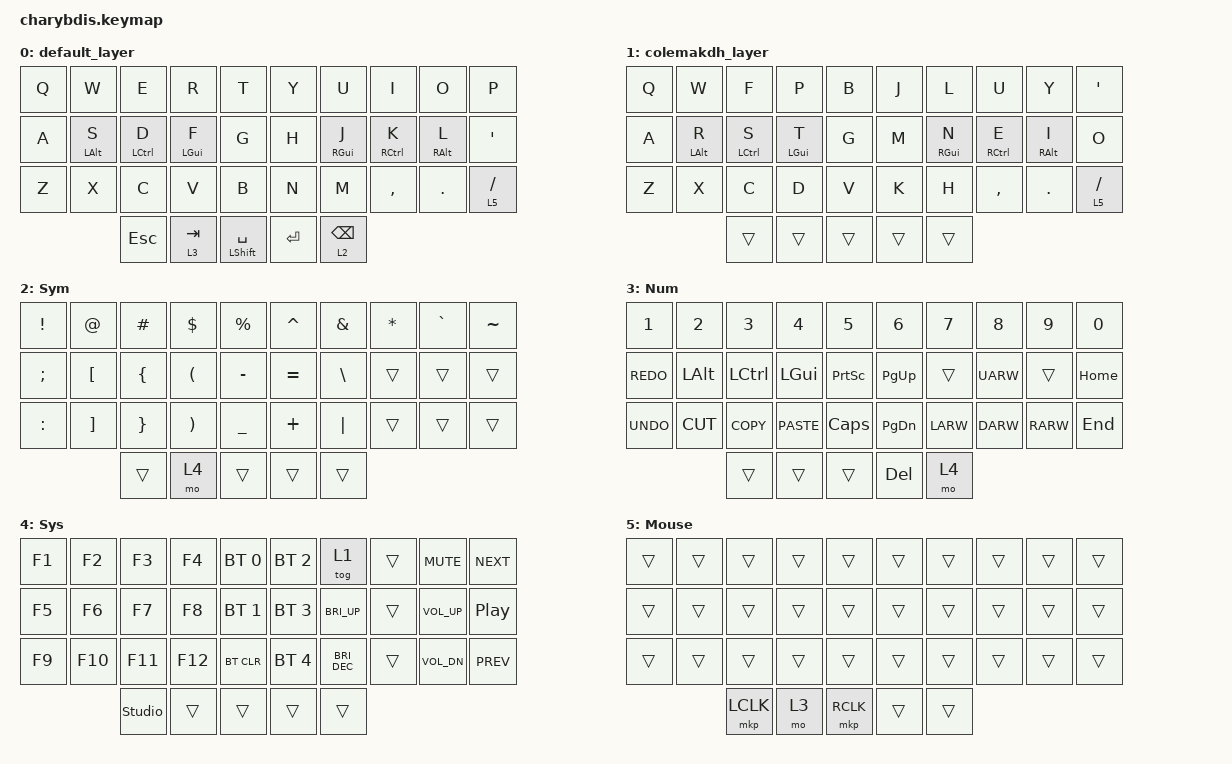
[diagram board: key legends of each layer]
/*
 * Copyright (c) 2020 The ZMK Contributors
 *
 * SPDX-License-Identifier: MIT
 */

#include <behaviors.dtsi>
#include <dt-bindings/zmk/keys.h>
#include <dt-bindings/zmk/bt.h>
#include <dt-bindings/zmk/pointing.h>
#include <dt-bindings/zmk/input_transform.h>
#include <input/processors.dtsi>

&lt {
        #binding-cells = <2>;
        tapping-term-ms = <200>;
        quick-tap-ms = <0>;
        flavor = "tap-preferred";
};

/ {
    trackball_listener {
        compatible = "zmk,input-listener";
        device = <&trackball_split>;
        input-processors = <&zip_xy_scaler 1 2>;//activate layer 3 within 500ms of the trackball moving
        scroll {
            layers = <3>;
            input-processors = <&zip_xy_scaler 1 50>, <&zip_xy_to_scroll_mapper>, <&zip_scroll_transform INPUT_TRANSFORM_Y_INVERT>;
        };
    };

    behaviors {
        hm: homerow_mods {
            compatible = "zmk,behavior-hold-tap";
            label = "HOMEROW_MODS";
            #binding-cells = <2>;
            tapping-term-ms = <200>;
            quick-tap-ms = <0>;
            flavor = "tap-preferred";
            bindings = <&kp>, <&kp>;
        };

    };

    keymap {
                compatible = "zmk,keymap";

                default_layer {
                        bindings = <
        //╭──────────┬──────────┬──────────┬──────────┬──────────╮   ╭──────────┬──────────┬──────────┬──────────┬──────────╮
            &kp Q      &kp W      &kp E      &kp R      &kp T          &kp Y      &kp U      &kp I      &kp O      &kp P
        //├──────────┼──────────┼──────────┼──────────┼──────────┤   ├──────────┼──────────┼──────────┼──────────┼──────────┤
            &kp A     &hm LALT S &hm LCTRL D &hm LGUI F  &kp G         &kp H    &hm RGUI J &hm RCTRL K &hm RALT L  &kp SQT
        //├──────────┼──────────┼──────────┼──────────┼──────────┤   ├──────────┼──────────┼──────────┼──────────┼──────────┤
            &kp Z      &kp X      &kp C      &kp V      &kp B          &kp N      &kp M      &kp COMMA  &kp DOT    &lt 5 FSLH
        //╰──────────┴──────────┴──────────┼──────────┼──────────┤   ├──────────┼──────────┼──────────┴──────────┴──────────╯
                               &kp ESC  &lt 3 TAB &hm LSHFT SPACE     &kp ENTER &lt 2 BSPC
        //                      ╰──────────┴──────────┴──────────╯   ╰──────────┴──────────╯
                        >;
                };

                colemakdh_layer {
                        bindings = <
        //╭──────────┬──────────┬──────────┬──────────┬──────────╮   ╭──────────┬──────────┬──────────┬──────────┬──────────╮
             &kp Q     &kp W      &kp F      &kp P      &kp B          &kp J      &kp L      &kp U      &kp Y      &kp SQT
        //├──────────┼──────────┼──────────┼──────────┼──────────┤   ├──────────┼──────────┼──────────┼──────────┼──────────┤
             &kp A     &hm LALT R &hm LCTRL S &hm LGUI T  &kp G        &kp M     &hm RGUI N  &hm RCTRL E &hm RALT I  &kp O
        //├──────────┼──────────┼──────────┼──────────┼──────────┤   ├──────────┼──────────┼──────────┼──────────┼──────────┤
              &kp Z    &kp X      &kp C      &kp D      &kp V          &kp K      &kp H      &kp COMMA  &kp DOT    &lt 5 FSLH
        //╰──────────┴──────────┼──────────┼──────────┼──────────┤   ├──────────┼──────────┼──────────┴──────────┴──────────╯
                                  &trans     &trans    &trans         &trans     &trans
        //                      ╰──────────┴──────────┴──────────╯   ╰──────────┴──────────╯
                        >;
                };

                // Layer 2 — Symbols
                sym_layer {
                        display-name = "Sym";
                        bindings = <
        //╭──────────┬──────────┬──────────┬──────────┬──────────╮   ╭──────────┬──────────┬──────────┬──────────┬──────────╮
        //│  !       │  @       │  #       │  $       │  %       │   │  ^       │  &       │  *       │  `       │  ~       │
            &kp EXCL   &kp AT     &kp HASH   &kp DLLR   &kp PRCNT      &kp CARET  &kp AMPS   &kp ASTRK  &kp GRAVE   &kp TILDE
        //├──────────┼──────────┼──────────┼──────────┼──────────┤   ├──────────┼──────────┼──────────┼──────────┼──────────┤
        //│    ;     │  [       │  {       │  (       │  -       │   │  =       │  \       │          │          │          │
            &kp SEMI   &kp LBKT   &kp LBRC   &kp LPAR   &kp MINUS      &kp EQUAL  &kp BSLH   &trans     &trans     &trans
        //├──────────┼──────────┼──────────┼──────────┼──────────┤   ├──────────┼──────────┼──────────┼──────────┼──────────┤
        //│    :     │  ]       │  }       │  )       │  _       │   │  +       │  |       │          │          │          │
            &kp COLON  &kp RBKT   &kp RBRC   &kp RPAR   &kp UNDER      &kp PLUS   &kp PIPE   &trans     &trans     &trans
        //╰──────────┴──────────┴──────────┼──────────┼──────────┤   ├──────────┼──────────┼──────────┴──────────┴──────────╯
                                  &trans    &mo 4       &trans         &trans     &trans
        //                      ╰──────────┴──────────┴──────────╯   ╰──────────┴──────────╯
                    >;
                };

                // Layer 3 — Numbers / nav (also trackball scroll)
                num_layer  {
                        display-name = "Num";
                        bindings = <
        //╭──────────┬──────────┬──────────┬──────────┬──────────╮   ╭──────────┬──────────┬──────────┬──────────┬──────────╮
        //│ 1        │  2       │  3       │  4       │  5       │   │ 6        │ 7        │ 8        │ 9        │   0      │
            &kp N1    &kp N2     &kp N3     &kp N4     &kp N5          &kp N6     &kp N7     &kp N8     &kp N9      &kp N0
        //├──────────┼──────────┼──────────┼──────────┼──────────┤   ├──────────┼──────────┼──────────┼──────────┼──────────┤
        //│ REDO     │          │          │          │          |   | PAGE UP  │          │ UP       │          │  HOME    │
           &kp K_REDO  &kp LALT   &kp LCTRL  &kp LGUI  &kp PSCRN      &kp PG_UP   &trans    &kp UARW   &trans     &kp HOME
        //├──────────┼──────────┼──────────┼──────────┼──────────┤   ├──────────┼──────────┼──────────┼──────────┼──────────┤
        //│ UNDO     │   CUT    │   COPY   │  PASTE   |          │   │ PAGE DOWN│ LEFT     │ DOWN     │ RIGHT    │ END      │
           &kp K_UNDO &kp K_CUT  &kp K_COPY &kp K_PASTE &kp CAPS      &kp PG_DN  &kp LARW   &kp DARW   &kp RARW   &kp END
        //╰──────────┴──────────┴──────────┼──────────┼──────────┤   ├──────────┼──────────┼──────────┴──────────┴──────────╯
                                   &trans    &trans     &trans        &kp DEL      &mo 4
        //                      ╰──────────┴──────────┴──────────╯   ╰──────────┴──────────╯
                    >;
                };

                // Layer 4 — Bluetooth / system
                tri_layer {
                        display-name = "Sys";
                        bindings = <
        //╭──────────┬──────────┬──────────┬───────────┬────────────╮   ╭────────────┬────────────┬──────────┬───────────┬──────────╮
        //│  F1      │  F2      │  F3      │  F4       │ PROFILE 0  │   │ PROFILE 2  │ TOG COLEM │          │ VOL MUTE  │ NEXTSONG │
            &kp F1     &kp F2     &kp F3     &kp F4     &bt BT_SEL 0     &bt BT_SEL 2  &tog 1       &trans   &kp C_MUTE  &kp C_NEXT
        //├──────────┼──────────┼──────────┼───────────┼────────────┤   ├────────────┼────────────┼──────────┼───────────┼──────────┤
        //│  F5      │  F6      │  F7      │  F8       │ PROFILE 1  │   │ PROFILE 3  │ INC BRIGHT │          │  VOL UP   │PAUSEMUSIC│
            &kp F5     &kp F6     &kp F7     &kp F8     &bt BT_SEL 1     &bt BT_SEL 3  &kp C_BRI_UP  &trans   &kp C_VOL_UP  &kp C_PP
        //├──────────┼──────────┼──────────┼───────────┼────────────┤   ├────────────┼────────────┼──────────┼───────────┼──────────┤
        //│  F9      │  F10     │  F11     │  F12      │  CLEAR BT  │   │ PROFILE 4  │ DEC BRIGHT │          |  VOL DOWN │ PREVSONG │
            &kp F9     &kp F10    &kp F11    &kp F12     &bt BT_CLR      &bt BT_SEL 4  &kp C_BRI_DEC  &trans   &kp C_VOL_DN &kp C_PREV
        //╰──────────┴──────────┴──────────┼───────────┼────────────┤   ├────────────┼────────────┼──────────┴───────────┴──────────╯
                                  &studio_unlock &trans  &trans           &trans      &trans
        //                      ╰──────────┴───────────┴────────────╯   ╰────────────┴────────────╯
                        >;
                };

                // Layer 5 — Mouse buttons
                mouse_layer {
                        display-name = "Mouse";
                        bindings = <
        //╭──────────┬──────────┬──────────┬───────────┬────────────╮   ╭────────────┬────────────┬──────────┬───────────┬──────────╮
            &trans     &trans     &trans     &trans      &trans           &trans       &trans       &trans     &trans      &trans
        //├──────────┼──────────┼──────────┼───────────┼────────────┤   ├────────────┼────────────┼──────────┼───────────┼──────────┤
            &trans     &trans     &trans     &trans      &trans           &trans       &trans       &trans     &trans      &trans
        //├──────────┼──────────┼──────────┼───────────┼────────────┤   ├────────────┼────────────┼──────────┼───────────┼──────────┤
            &trans     &trans     &trans     &trans      &trans           &trans       &trans       &trans     &trans      &trans
        //╰──────────┴──────────┴──────────┼───────────┼────────────┤   ├────────────┼────────────┼──────────┴───────────┴──────────╯
                                  &mkp LCLK  &mo 3       &mkp RCLK        &trans      &trans
        //                      ╰──────────┴───────────┴────────────╯   ╰────────────┴────────────╯
                        >;
                };
        };
};
